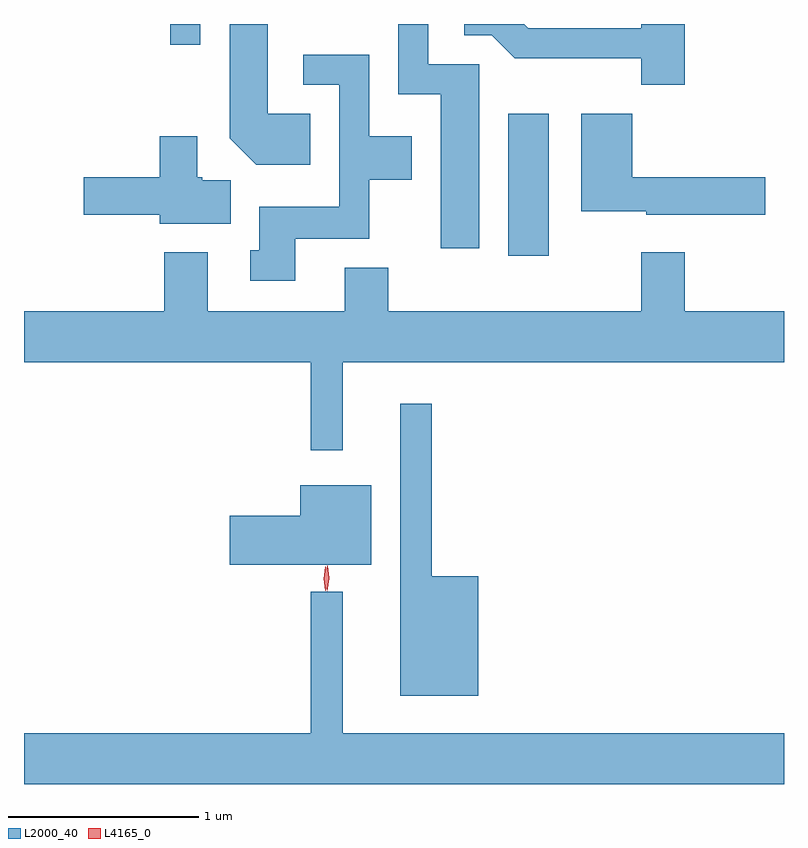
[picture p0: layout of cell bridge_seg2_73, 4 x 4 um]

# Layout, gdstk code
import gdstk
lib = gdstk.Library(unit=1e-6, precision=1e-09)
def R(c, l, rs):  # rectangles x0, y0, x1, y1
    for r in rs: c.add(gdstk.rectangle(r[:2], r[2:], *l))
def P(c, l, *ps):  # polygons
    for p in ps: c.add(gdstk.Polygon(p, *l))
L2000_40 = (2000, 40)
L4165_0 = (4165, 0)

bridge_seg2_73 = lib.new_cell('bridge_seg2_73')
R(bridge_seg2_73, L2000_40, [(1132.511,1073.296,1132.724,1074.044), (1130.731,1074.408,1130.889,1074.516)])
P(bridge_seg2_73, L2000_40, [(1131.469,1074.044),(1131.244,1074.044),(1131.244,1074.516),(1131.046,1074.516),(1131.046,1073.914),(1131.184,1073.776),(1131.469,1073.776)],
  [(1133.439,1074.516),(1133.211,1074.516),(1133.211,1074.494),(1132.617,1074.494),(1132.595,1074.516),(1132.278,1074.516),(1132.278,1074.456),(1132.424,1074.456),(1132.544,1074.336),(1133.211,1074.336),(1133.211,1074.196),(1133.439,1074.196)],
  [(1132.359,1074.304),(1132.089,1074.304),(1132.089,1074.516),(1131.931,1074.516),(1131.931,1074.146),(1132.156,1074.146),(1132.156,1073.336),(1132.359,1073.336)],
  [(1131.389,1073.386),(1131.779,1073.386),(1131.779,1073.696),(1132.004,1073.696),(1132.004,1073.924),(1131.779,1073.924),(1131.779,1074.354),(1131.433,1074.354),(1131.433,1074.196),(1131.621,1074.196),(1131.621,1073.554),(1131.201,1073.554),(1131.201,1073.324),(1131.153,1073.324),(1131.153,1073.166),(1131.389,1073.166)],
  [(1133.864,1073.709),(1133.164,1073.709),(1133.164,1074.044),(1132.896,1074.044),(1132.896,1073.531),(1133.236,1073.531),(1133.236,1073.511),(1133.864,1073.511)],
  [(1131.049,1073.694),(1130.9,1073.694),(1130.9,1073.709),(1130.874,1073.709),(1130.874,1073.924),(1130.676,1073.924),(1130.676,1073.709),(1130.276,1073.709),(1130.276,1073.511),(1130.676,1073.511),(1130.676,1073.466),(1131.049,1073.466)],
  [(1131.639,1072.736),(1133.962,1072.736),(1133.962,1073.004),(1133.439,1073.004),(1133.439,1073.314),(1133.211,1073.314),(1133.211,1073.004),(1131.879,1073.004),(1131.879,1073.234),(1131.651,1073.234),(1131.651,1073.004),(1130.929,1073.004),(1130.929,1073.314),(1130.701,1073.314),(1130.701,1073.004),(1129.962,1073.004),(1129.962,1072.736),(1131.471,1072.736),(1131.471,1072.273),(1131.639,1072.273)],
  [(1132.354,1071.609),(1132.109,1071.609),(1132.109,1072.518),(1131.941,1072.518),(1131.941,1070.981),(1132.354,1070.981)],
  [(1131.789,1072.089),(1131.416,1072.089),(1131.416,1071.929),(1131.046,1071.929),(1131.046,1071.671),(1131.789,1071.671)],
  [(1131.639,1071.528),(1131.471,1071.528),(1131.471,1070.784),(1129.962,1070.784),(1129.962,1070.516),(1133.962,1070.516),(1133.962,1070.784),(1131.639,1070.784)])
P(bridge_seg2_73, L4165_0, [(1131.557,1071.53),(1131.548,1071.598),(1131.559,1071.666),(1131.559,1071.666),(1131.56,1071.666),(1131.568,1071.598),(1131.558,1071.53),(1131.558,1071.53)],
  [(1131.548,1071.533),(1131.539,1071.596),(1131.548,1071.659),(1131.548,1071.66),(1131.549,1071.659),(1131.559,1071.596),(1131.55,1071.533),(1131.549,1071.533)])

lib.write_gds('bridge_seg2_73.gds')
